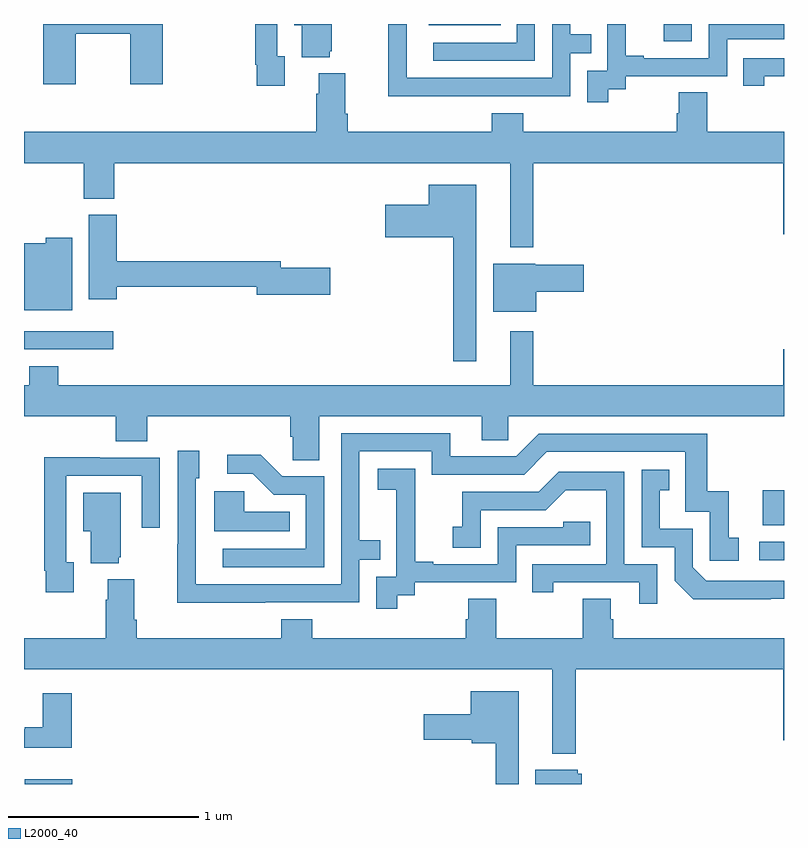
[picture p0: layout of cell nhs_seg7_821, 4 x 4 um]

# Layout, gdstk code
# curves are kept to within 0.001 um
import gdstk
lib = gdstk.Library(unit=1e-6, precision=1e-09)
def R(c, l, rs):  # rectangles x0, y0, x1, y1
    for r in rs: c.add(gdstk.rectangle(r[:2], r[2:], *l))
def P(c, l, *ps):  # polygons
    for p in ps: c.add(gdstk.Polygon(p, *l))
L2000_40 = (2000, 40)

nhs_seg7_821 = lib.new_cell('nhs_seg7_821')
R(nhs_seg7_821, L2000_40, [(173.003,1012,173.254,1012.024), (176.871,1013.178,177,1013.274), (176.888,1013.363,177,1013.545), (173,1014.288,173.47,1014.384), (176.367,1015.908,176.514,1016), (175.13,1015.994,175.508,1016)])
P(nhs_seg7_821, L2000_40, [(174.373,1015.83),(174.333,1015.83),(174.333,1016),(174.217,1016),(174.217,1015.786),(174.225,1015.786),(174.225,1015.674),(174.373,1015.674)],
  [(176.074,1015.657),(176.166,1015.657),(176.166,1015.725),(176.7,1015.725),(176.7,1015.92),(177,1015.92),(177,1016),(176.604,1016),(176.604,1015.821),(176.263,1015.821),(176.263,1015.834),(176.168,1015.834),(176.168,1016),(176.069,1016),(176.069,1015.985),(176.07,1015.985),(176.07,1015.755),(175.965,1015.755),(175.965,1015.587),(176.074,1015.587)],
  [(174.608,1015.857),(174.619,1015.857),(174.619,1016),(174.422,1016),(174.422,1015.994),(174.461,1015.994),(174.461,1015.826),(174.608,1015.826)],
  [(173.272,1015.948),(173.558,1015.948),(173.558,1015.683),(173.729,1015.683),(173.729,1016),(173.102,1016),(173.102,1015.683),(173.272,1015.683)],
  [(175.379,1015.62),(175.875,1015.62),(175.875,1015.845),(175.985,1015.845),(175.985,1015.946),(175.875,1015.946),(175.875,1016),(175.779,1016),(175.779,1015.716),(175.014,1015.716),(175.014,1016),(174.918,1016),(174.918,1015.925),(174.916,1015.925),(174.916,1015.619),(175.379,1015.619)],
  [(175.689,1016),(175.593,1016),(175.593,1015.902),(175.155,1015.902),(175.155,1015.806),(175.689,1015.806)],
  [(176.896,1015.725),(177,1015.725),(177,1015.821),(176.785,1015.821),(176.785,1015.674),(176.896,1015.674)],
  [(175.681,1015.268),(176.996,1015.268),(176.996,1014.894),(177,1014.894),(177,1015.432),(176.595,1015.432),(176.595,1015.64),(176.447,1015.64),(176.447,1015.53),(176.435,1015.53),(176.435,1015.432),(175.628,1015.432),(175.628,1015.531),(175.463,1015.531),(175.463,1015.432),(174.704,1015.432),(174.704,1015.528),(174.691,1015.528),(174.691,1015.741),(174.551,1015.741),(174.551,1015.634),(174.539,1015.634),(174.539,1015.432),(173,1015.432),(173,1015.268),(173.314,1015.268),(173.314,1015.081),(173.474,1015.081),(173.474,1015.268),(175.559,1015.268),(175.559,1014.824),(175.681,1014.824)],
  [(175.381,1015.153),(175.13,1015.153),(175.13,1015.048),(174.9,1015.048),(174.9,1014.878),(175.26,1014.878),(175.26,1014.225),(175.381,1014.225)],
  [(173.489,1014.616),(174.224,1014.616),(174.224,1014.574),(174.613,1014.574),(174.613,1014.716),(174.352,1014.716),(174.352,1014.752),(173.489,1014.752),(173.489,1014.996),(173.342,1014.996),(173.342,1014.552),(173.489,1014.552)],
  [(173.254,1014.874),(173.115,1014.874),(173.115,1014.847),(173,1014.847),(173,1014.494),(173.254,1014.494)],
  [(175.696,1014.592),(175.945,1014.592),(175.945,1014.734),(175.692,1014.734),(175.692,1014.739),(175.469,1014.739),(175.469,1014.485),(175.696,1014.485)],
  [(174.553,1013.936),(175.409,1013.936),(175.409,1013.809),(175.548,1013.809),(175.548,1013.936),(177,1013.936),(177,1014.289),(176.996,1014.289),(176.996,1014.1),(175.681,1014.1),(175.681,1014.382),(175.559,1014.382),(175.559,1014.1),(173.18,1014.1),(173.18,1014.199),(173.027,1014.199),(173.027,1014.1),(173,1014.1),(173,1013.936),(173.483,1013.936),(173.483,1013.803),(173.648,1013.803),(173.648,1013.936),(174.401,1013.936),(174.401,1013.827),(174.414,1013.827),(174.414,1013.704),(174.553,1013.704)],
  [(174.269,1012.956),(174.765,1012.956),(174.765,1013.181),(174.875,1013.181),(174.875,1013.282),(174.765,1013.282),(174.765,1013.751),(175.146,1013.751),(175.146,1013.628),(175.632,1013.628),(175.752,1013.748),(176.481,1013.748),(176.481,1013.433),(176.61,1013.433),(176.61,1013.175),(176.761,1013.175),(176.761,1013.295),(176.708,1013.295),(176.708,1013.542),(176.597,1013.542),(176.597,1013.844),(175.71,1013.844),(175.59,1013.724),(175.243,1013.724),(175.243,1013.847),(174.669,1013.847),(174.669,1013.052),(173.905,1013.052),(173.904,1013.61),(173.923,1013.61),(173.923,1013.755),(173.808,1013.755),(173.808,1013.261),(173.806,1013.261),(173.806,1012.955)],
  [(174.579,1013.619),(174.36,1013.619),(174.247,1013.732),(174.069,1013.732),(174.069,1013.634),(174.203,1013.634),(174.314,1013.523),(174.483,1013.523),(174.483,1013.238),(174.045,1013.238),(174.045,1013.142),(174.579,1013.142)],
  [(173.263,1013.166),(173.223,1013.166),(173.223,1013.622),(173.619,1013.622),(173.619,1013.349),(173.715,1013.349),(173.715,1013.718),(173.399,1013.718),(173.399,1013.72),(173.107,1013.72),(173.107,1013.122),(173.115,1013.122),(173.115,1013.01),(173.263,1013.01)],
  [(174.964,1012.993),(175.056,1012.993),(175.056,1013.061),(175.59,1013.061),(175.59,1013.256),(175.979,1013.256),(175.979,1013.379),(175.839,1013.379),(175.839,1013.352),(175.494,1013.352),(175.494,1013.157),(175.153,1013.157),(175.153,1013.17),(175.058,1013.17),(175.058,1013.453),(175.059,1013.453),(175.059,1013.659),(174.861,1013.659),(174.861,1013.549),(174.959,1013.549),(174.959,1013.321),(174.96,1013.321),(174.96,1013.091),(174.855,1013.091),(174.855,1012.923),(174.964,1012.923)],
  [(176.93,1012.974),(177,1012.974),(177,1013.07),(176.592,1013.07),(176.52,1013.142),(176.52,1013.343),(176.347,1013.343),(176.347,1013.547),(176.396,1013.547),(176.396,1013.653),(176.25,1013.653),(176.25,1013.247),(176.424,1013.247),(176.424,1013.07),(176.522,1012.973)],
  [(176.334,1013.157),(176.16,1013.157),(176.16,1013.643),(175.814,1013.643),(175.709,1013.538),(175.306,1013.538),(175.306,1013.353),(175.257,1013.353),(175.257,1013.244),(175.404,1013.244),(175.404,1013.442),(175.746,1013.442),(175.85,1013.546),(176.064,1013.546),(176.064,1013.157),(175.675,1013.157),(175.675,1013.01),(175.786,1013.01),(175.786,1013.061),(176.237,1013.061),(176.237,1012.95),(176.334,1012.95)],
  [(174.398,1013.434),(174.159,1013.434),(174.159,1013.542),(174.002,1013.542),(174.002,1013.33),(174.398,1013.33)],
  [(173.498,1013.193),(173.509,1013.193),(173.509,1013.533),(173.312,1013.533),(173.312,1013.33),(173.351,1013.33),(173.351,1013.162),(173.498,1013.162)],
  [(174.353,1012.867),(174.353,1012.768),(173.594,1012.768),(173.594,1012.864),(173.581,1012.864),(173.581,1013.077),(173.441,1013.077),(173.441,1012.97),(173.429,1012.97),(173.429,1012.768),(173,1012.768),(173,1012.604),(175.781,1012.604),(175.781,1012.16),(175.903,1012.16),(175.903,1012.604),(176.996,1012.604),(176.996,1012.23),(177,1012.23),(177,1012.768),(176.102,1012.768),(176.102,1012.866),(176.089,1012.866),(176.089,1012.976),(175.942,1012.976),(175.942,1012.768),(175.485,1012.768),(175.485,1012.976),(175.337,1012.976),(175.337,1012.866),(175.325,1012.866),(175.325,1012.768),(174.518,1012.768),(174.518,1012.867)],
  [(175.603,1012.489),(175.352,1012.489),(175.352,1012.366),(175.104,1012.366),(175.104,1012.232),(175.356,1012.232),(175.356,1012.214),(175.482,1012.214),(175.482,1012),(175.603,1012)],
  [(173.252,1012.477),(173.099,1012.477),(173.099,1012.3),(173.003,1012.3),(173.003,1012.287),(173,1012.287),(173,1012.19),(173.252,1012.19)],
  [(175.936,1012.053),(175.914,1012.053),(175.914,1012.075),(175.691,1012.075),(175.691,1012),(175.936,1012)])

lib.write_gds('nhs_seg7_821.gds')
